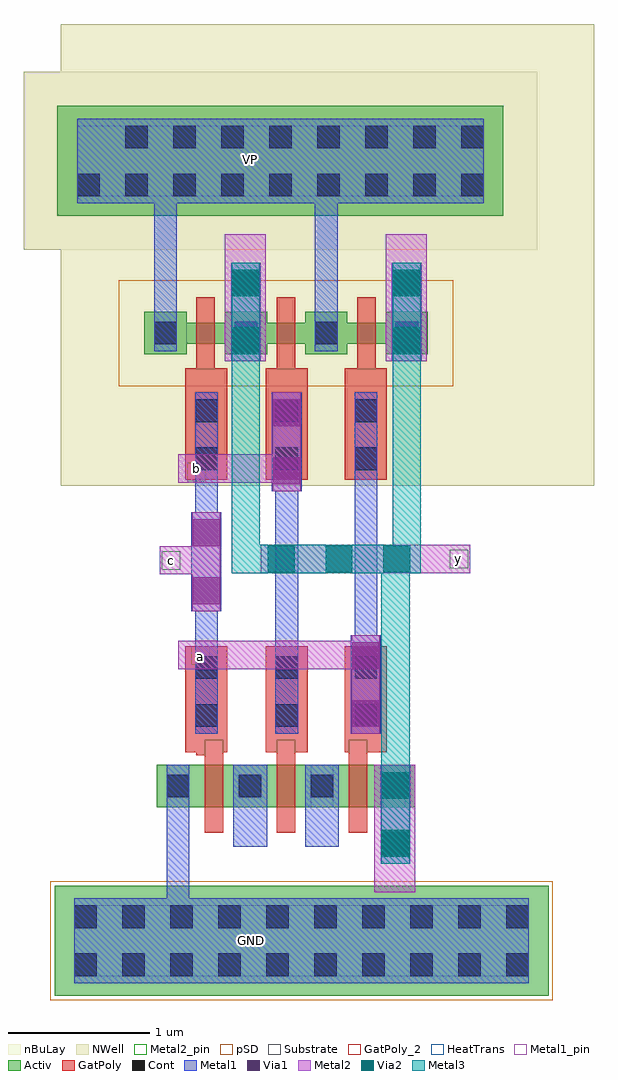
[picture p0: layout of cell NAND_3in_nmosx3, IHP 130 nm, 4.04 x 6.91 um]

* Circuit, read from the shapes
.subckt NAND_3in_nmosx3 GND VP a b c y
XM1 n1 c GND GND sg13_lv_nmos w=0.3u l=0.13u
XM2 n2 b n1 GND sg13_lv_nmos w=0.3u l=0.13u
XM3 y a n2 GND sg13_lv_nmos w=0.3u l=0.13u
XM4 y c VP VP sg13_lv_pmos w=0.15u l=0.13u
XM5 VP b y VP sg13_lv_pmos w=0.15u l=0.13u
XM6 y a VP VP sg13_lv_pmos w=0.15u l=0.13u
.ends

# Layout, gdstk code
from math import pi, radians
import gdstk
lib = gdstk.Library(unit=1e-6, precision=1e-09)
def R(c, l, rs):  # rectangles x0, y0, x1, y1
    for r in rs: c.add(gdstk.rectangle(r[:2], r[2:], *l))
def A(c, l, x, y, w, h, nx, ny, dx, dy):  # array of equal rectangles
    R(c, l, [(x+i*dx, y+j*dy, x+i*dx+w, y+j*dy+h) for i in range(nx) for j in range(ny)])
Activ = (1, 0)
GatPoly = (5, 0)
GatPoly_2 = (5, 2)
Cont = (6, 0)
Metal1 = (8, 0)
Metal1_pin = (8, 2)
Metal2 = (10, 0)
Metal2_pin = (10, 2)
pSD = (14, 0)
Via1 = (19, 0)
Via2 = (29, 0)
Metal3 = (30, 0)
NWell = (31, 0)
nBuLay = (32, 0)
Substrate = (40, 0)
HeatTrans = (51, 0)

pmos = lib.new_cell('pmos')
A(pmos, Activ, 0, 0, 0.3, 0.3, 4, 1, 0.57, 0)
R(pmos, Activ, [(0,0.075,2.01,0.225)])
A(pmos, GatPoly, 0.37, -0.105, 0.13, 0.51, 3, 1, 0.57, 0)
R(pmos, GatPoly, [(0.37,-0.105,0.5,0.405)])
A(pmos, Cont, 0.07, 0.07, 0.16, 0.16, 4, 1, 0.57, 0)
A(pmos, Metal1, 0.64, 0.02, 0.16, 0.26, 3, 1, 0.57, 0)
R(pmos, Metal1, [(0.07,0.02,0.23,0.28), (0.07,0.02,0.23,0.28), (0.64,0.02,0.8,0.28)])
R(pmos, pSD, [(-0.18,-0.225,2.19,0.525)])
R(pmos, NWell, [(-0.31,-0.31,2.32,0.61)])
R(pmos, Substrate, [(1.71,0,2.01,0.3)])
A(pmos, HeatTrans, 0.37, -0.105, 0.13, 0.51, 3, 1, 0.57, 0)
pmos.add(gdstk.Label('pmos', (0.435,0.15), layer=63, texttype=0))
pmos.add(gdstk.Label('pmos', (0.435,0.15), layer=51, texttype=0))
pmos.add(gdstk.Label('pmos', (1.005,0.15), layer=51, texttype=0))
pmos.add(gdstk.Label('pmos', (1.575,0.15), layer=51, texttype=0))

via = lib.new_cell('Via')
R(via, GatPoly, [(-0.32,-0.15,0.32,0.15)])
R(via, Cont, [(-0.25,-0.08,-0.09,0.08), (0.09,-0.08,0.25,0.08)])
R(via, Metal1, [(-0.3,-0.08,0.3,0.08)])

nmos = lib.new_cell('nmos')
A(nmos, Activ, 0, 0, 0.3, 0.3, 4, 1, 0.51, 0)
R(nmos, Activ, [(0,0,1.83,0.3)])
A(nmos, GatPoly, 0.34, -0.18, 0.13, 0.66, 3, 1, 0.51, 0)
R(nmos, GatPoly_2, [(0.34,-0.18,0.47,0.48)])
A(nmos, Cont, 0.07, 0.07, 0.16, 0.16, 4, 1, 0.51, 0)
A(nmos, Metal1, 0.07, 0, 0.16, 0.3, 4, 1, 0.51, 0)
R(nmos, Metal1_pin, [(0.07,0,0.23,0.3), (0.58,0,0.74,0.3)])
A(nmos, HeatTrans, 0.34, -0.18, 0.13, 0.66, 3, 1, 0.51, 0)
nmos.add(gdstk.Label('nmos', (0.405,0.15), layer=63, texttype=0))
nmos.add(gdstk.Label('nmos', (0.405,0.15), layer=51, texttype=0))
nmos.add(gdstk.Label('nmos', (0.915,0.15), layer=51, texttype=0))
nmos.add(gdstk.Label('nmos', (1.425,0.15), layer=51, texttype=0))

ptap = lib.new_cell('ptap')
R(ptap, Activ, [(-0.425,-1.215,0.355,-0.435)])
R(ptap, Cont, [(-0.285,-1.075,-0.125,-0.915), (0.055,-1.075,0.215,-0.915), (-0.285,-0.735,-0.125,-0.575), (0.055,-0.735,0.215,-0.575)])
R(ptap, Metal1, [(-0.285,-1.125,0.215,-0.525)])
R(ptap, Metal1_pin, [(-0.285,-1.075,0.215,-0.575)])
R(ptap, pSD, [(-0.455,-1.245,0.385,-0.405)])

ntap = lib.new_cell('ntap')
R(ntap, Activ, [(-0.665,-0.22,0.115,0.56)])
R(ntap, Cont, [(-0.525,-0.08,-0.365,0.08), (-0.525,0.26,-0.365,0.42), (-0.185,0.26,-0.025,0.42)])
R(ntap, Metal1, [(-0.525,-0.13,-0.025,0.47)])
R(ntap, Metal1_pin, [(-0.525,-0.08,-0.025,0.42)])
R(ntap, NWell, [(-0.905,-0.46,0.355,0.8)])
R(ntap, nBuLay, [(-0.905,-0.46,0.355,0.8)])

via_5 = lib.new_cell('Via$5')
R(via_5, Metal2, [(-0.1,-0.555,0.1,0.555)])
A(via_5, Via2, -0.095, -0.505, 0.19, 0.19, 1, 3, 0, 0.41)
R(via_5, Metal3, [(-0.1,-0.555,0.1,0.555)])

via_3 = lib.new_cell('Via$3')
R(via_3, Metal2, [(-0.1,-0.35,0.1,0.35)])
R(via_3, Via2, [(-0.095,-0.3,0.095,-0.11), (-0.095,0.11,0.095,0.3)])
R(via_3, Metal3, [(-0.1,-0.35,0.1,0.35)])

via_2 = lib.new_cell('Via$2')
R(via_2, Metal1, [(-0.105,-0.35,0.105,0.35)])
R(via_2, Metal2, [(-0.1,-0.35,0.1,0.35)])
R(via_2, Via1, [(-0.095,-0.3,0.095,-0.11), (-0.095,0.11,0.095,0.3)])

nand_3in_nmosx3 = lib.new_cell('NAND_3in_nmosx3')
R(nand_3in_nmosx3, GatPoly, [(0.11,-2.53,0.24,-2.42), (0.68,-2.53,0.81,-2.42), (0.03,-2.51,0.33,-2.4), (0.6,-2.51,0.9,-2.4), (1.16,-2.51,1.46,-2.4), (0.03,0.06,0.33,0.21), (0.6,0.06,0.9,0.21), (1.16,0.06,1.46,0.21), (0.68,0.16,0.81,0.25), (1.25,0.16,1.38,0.25)])
R(nand_3in_nmosx3, Metal1, [(-0.1,-3.655,0.06,-2.875), (0.37,-3.18,0.61,-2.92), (0.88,-3.18,1.12,-2.92), (0.37,-2.94,0.61,-2.6), (0.88,-2.94,1.12,-2.6), (0.67,-2.21,0.83,-1.27), (1.23,-2.21,1.39,-1.27), (0.1,-1.91,0.26,-0.56), (0.67,-1.31,0.83,-0.37), (1.23,-1.31,1.39,-0.37), (0.95,0.48,1.11,0.68), (-0.19,0.49,-0.03,0.63), (-0.19,0.595,-0.03,1.47), (0.95,0.595,1.11,1.42)])
R(nand_3in_nmosx3, Metal1_pin, [(0.435,-3.91,0.565,-3.78), (0.425,1.63,0.555,1.76)])
R(nand_3in_nmosx3, Metal2, [(1.37,-3.5,1.66,-3.3), (1.37,-3.3,1.66,-2.6), (-0.02,-1.92,0.41,-1.72), (0.41,-1.92,0.84,-1.72), (0.81,-1.92,1.24,-1.72), (-0.15,-1.25,0.28,-1.05), (1.62,-1.24,2.05,-1.04), (-0.02,-0.6,0.41,-0.4), (0.41,-0.6,0.84,-0.4), (0.31,0.26,0.6,0.46), (1.45,0.26,1.74,0.46), (0.31,0.46,0.6,1.16), (1.45,0.46,1.74,1.16)])
R(nand_3in_nmosx3, Metal2_pin, [(0.075,-1.89,0.205,-1.76), (-0.135,-1.215,-0.005,-1.085), (1.905,-1.205,2.035,-1.075), (0.045,-0.59,0.175,-0.46)])
R(nand_3in_nmosx3, Metal3, [(1.42,-2.61,1.62,-2.41), (1.42,-2.45,1.62,-1.04), (0.36,-1.24,0.56,-0.97), (0.38,-1.24,0.565,-1.04), (1.66,-1.24,1.7,-1.09), (1.5,-1.09,1.7,0.17), (0.36,-0.97,0.56,0.26), (1.5,0.1,1.7,0.2), (1.5,0.19,1.7,0.35)])
R(nand_3in_nmosx3, NWell, [(-0.85,-0.62,2.93,2.65)])
nand_3in_nmosx3.add(gdstk.Reference(pmos, (1.75,0.61), rotation=pi))
nand_3in_nmosx3.add(gdstk.Reference(via, (0.18,-2.08), rotation=3*pi/2))
nand_3in_nmosx3.add(gdstk.Reference(via, (0.75,-2.08), rotation=3*pi/2))
nand_3in_nmosx3.add(gdstk.Reference(via, (1.31,-2.08), rotation=3*pi/2))
nand_3in_nmosx3.add(gdstk.Reference(via, (0.18,-0.26), rotation=3*pi/2))
nand_3in_nmosx3.add(gdstk.Reference(via, (0.75,-0.26), rotation=3*pi/2))
nand_3in_nmosx3.add(gdstk.Reference(via, (1.31,-0.26), rotation=3*pi/2))
nand_3in_nmosx3.add(gdstk.Reference(nmos, (1.66,-2.6), rotation=pi))
nand_3in_nmosx3.add(gdstk.Reference(ptap, (-0.54,-4.67), rotation=pi))
nand_3in_nmosx3.add(gdstk.Reference(ptap, (-0.2,-4.67), rotation=pi))
nand_3in_nmosx3.add(gdstk.Reference(ptap, (0.14,-4.67), rotation=pi))
nand_3in_nmosx3.add(gdstk.Reference(ptap, (0.48,-4.67), rotation=pi))
nand_3in_nmosx3.add(gdstk.Reference(ptap, (0.82,-4.67), rotation=pi))
nand_3in_nmosx3.add(gdstk.Reference(ptap, (1.16,-4.67), rotation=pi))
nand_3in_nmosx3.add(gdstk.Reference(ptap, (1.5,-4.67), rotation=pi))
nand_3in_nmosx3.add(gdstk.Reference(ptap, (1.84,-4.67), rotation=pi))
nand_3in_nmosx3.add(gdstk.Reference(ptap, (2.18,-4.67), rotation=pi))
nand_3in_nmosx3.add(gdstk.Reference(ntap, (-0.76,1.85), rotation=pi))
nand_3in_nmosx3.add(gdstk.Reference(ntap, (-0.42,1.85), rotation=pi))
nand_3in_nmosx3.add(gdstk.Reference(ntap, (-0.08,1.85), rotation=pi))
nand_3in_nmosx3.add(gdstk.Reference(ntap, (0.26,1.85), rotation=pi))
nand_3in_nmosx3.add(gdstk.Reference(ntap, (0.6,1.85), rotation=pi))
nand_3in_nmosx3.add(gdstk.Reference(ntap, (0.94,1.85), rotation=pi))
nand_3in_nmosx3.add(gdstk.Reference(ntap, (1.28,1.85), rotation=pi))
nand_3in_nmosx3.add(gdstk.Reference(ntap, (1.62,1.85), rotation=pi))
nand_3in_nmosx3.add(gdstk.Reference(via_5, (1.12,-1.14), rotation=3*pi/2))
nand_3in_nmosx3.add(gdstk.Reference(via_3, (1.52,-2.95), rotation=pi))
nand_3in_nmosx3.add(gdstk.Reference(via_3, (0.46,0.61), rotation=pi))
nand_3in_nmosx3.add(gdstk.Reference(via_3, (1.6,0.61), rotation=pi))
nand_3in_nmosx3.add(gdstk.Reference(via_2, (1.52,-2.95), rotation=pi))
nand_3in_nmosx3.add(gdstk.Reference(via_2, (1.31,-2.03), rotation=pi))
nand_3in_nmosx3.add(gdstk.Reference(via_2, (0.18,-1.16), rotation=pi))
nand_3in_nmosx3.add(gdstk.Reference(via_2, (0.75,-0.31), rotation=pi))
nand_3in_nmosx3.add(gdstk.Reference(via_2, (0.46,0.61), rotation=pi))
nand_3in_nmosx3.add(gdstk.Reference(via_2, (1.6,0.61), rotation=pi))
nand_3in_nmosx3.add(gdstk.Label('y', (1.97,-1.14), layer=10, texttype=25))
nand_3in_nmosx3.add(gdstk.Label('b', (0.11,-0.5), layer=10, texttype=25))
nand_3in_nmosx3.add(gdstk.Label('c', (-0.07,-1.15), layer=10, texttype=25))
nand_3in_nmosx3.add(gdstk.Label('a', (0.14,-1.83), layer=10, texttype=25))
nand_3in_nmosx3.add(gdstk.Label('GND', (0.5,-3.84), layer=8, texttype=25))
nand_3in_nmosx3.add(gdstk.Label('VP', (0.49,1.69), layer=8, texttype=25))

lib.write_gds('NAND_3in_nmosx3.gds')
